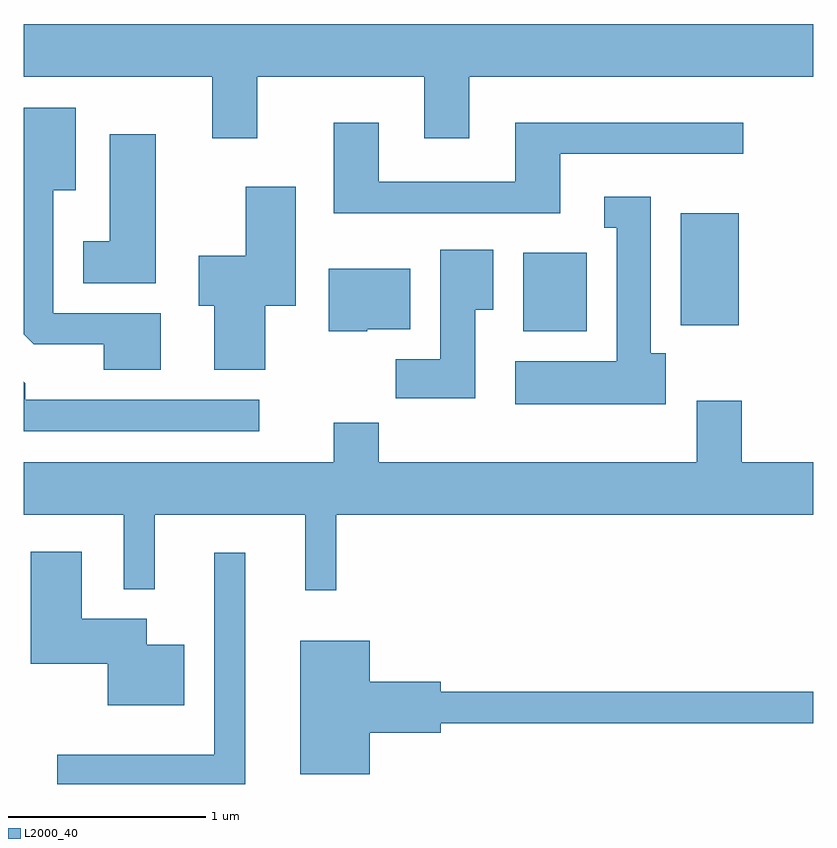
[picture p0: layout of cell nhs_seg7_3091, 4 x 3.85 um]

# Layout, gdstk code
import gdstk
lib = gdstk.Library(unit=1e-6, precision=1e-09)
def R(c, l, rs):  # rectangles x0, y0, x1, y1
    for r in rs: c.add(gdstk.rectangle(r[:2], r[2:], *l))
def P(c, l, *ps):  # polygons
    for p in ps: c.add(gdstk.Polygon(p, *l))
L2000_40 = (2000, 40)

nhs_seg7_3091 = lib.new_cell('nhs_seg7_3091')
R(nhs_seg7_3091, L2000_40, [(282.141,1748.546,282.464,1748.944), (282.941,1748.576,283.234,1749.144)])
P(nhs_seg7_3091, L2000_40, [(280.794,1749.836),(281.641,1749.836),(281.641,1749.526),(281.869,1749.526),(281.869,1749.836),(283.611,1749.836),(283.611,1750.104),(279.611,1750.104),(279.611,1749.836),(280.566,1749.836),(280.566,1749.526),(280.794,1749.526)],
  [(280.304,1748.639),(279.759,1748.639),(279.759,1749.261),(279.874,1749.261),(279.874,1749.679),(279.611,1749.679),(279.611,1748.532),(279.662,1748.481),(280.016,1748.481),(280.016,1748.351),(280.304,1748.351)],
  [(282.329,1749.446),(283.258,1749.446),(283.258,1749.604),(282.101,1749.604),(282.101,1749.304),(281.409,1749.304),(281.409,1749.604),(281.181,1749.604),(281.181,1749.146),(282.329,1749.146)],
  [(280.279,1749.544),(280.046,1749.544),(280.046,1749.004),(279.911,1749.004),(279.911,1748.791),(280.279,1748.791)],
  [(280.834,1748.676),(280.989,1748.676),(280.989,1749.279),(280.736,1749.279),(280.736,1748.929),(280.496,1748.929),(280.496,1748.676),(280.576,1748.676),(280.576,1748.351),(280.834,1748.351)],
  [(282.864,1748.434),(282.789,1748.434),(282.789,1749.229),(282.553,1749.229),(282.553,1749.071),(282.616,1749.071),(282.616,1748.394),(282.101,1748.394),(282.101,1748.176),(282.864,1748.176)],
  [(281.899,1748.656),(281.989,1748.656),(281.989,1748.959),(281.721,1748.959),(281.721,1748.404),(281.496,1748.404),(281.496,1748.206),(281.899,1748.206)],
  [(281.35,1748.556),(281.569,1748.556),(281.569,1748.864),(281.156,1748.864),(281.156,1748.546),(281.35,1748.546)],
  [(280.803,1748.199),(279.619,1748.199),(279.619,1748.284),(279.611,1748.292),(279.611,1748.041),(280.803,1748.041)],
  [(281.194,1747.616),(283.611,1747.616),(283.611,1747.884),(283.249,1747.884),(283.249,1748.194),(283.021,1748.194),(283.021,1747.884),(281.409,1747.884),(281.409,1748.084),(281.181,1748.084),(281.181,1747.884),(279.611,1747.884),(279.611,1747.616),(280.116,1747.616),(280.116,1747.238),(280.274,1747.238),(280.274,1747.616),(281.036,1747.616),(281.036,1747.233),(281.194,1747.233)],
  [(280.424,1746.959),(280.234,1746.959),(280.234,1747.089),(279.904,1747.089),(279.904,1747.429),(279.646,1747.429),(279.646,1746.861),(280.036,1746.861),(280.036,1746.651),(280.424,1746.651)],
  [(280.734,1747.423),(280.576,1747.423),(280.576,1746.399),(279.781,1746.399),(279.781,1746.252),(280.734,1746.252)],
  [(281.364,1746.511),(281.724,1746.511),(281.724,1746.561),(283.611,1746.561),(283.611,1746.719),(281.724,1746.719),(281.724,1746.769),(281.364,1746.769),(281.364,1746.979),(281.011,1746.979),(281.011,1746.301),(281.364,1746.301)])

lib.write_gds('nhs_seg7_3091.gds')
